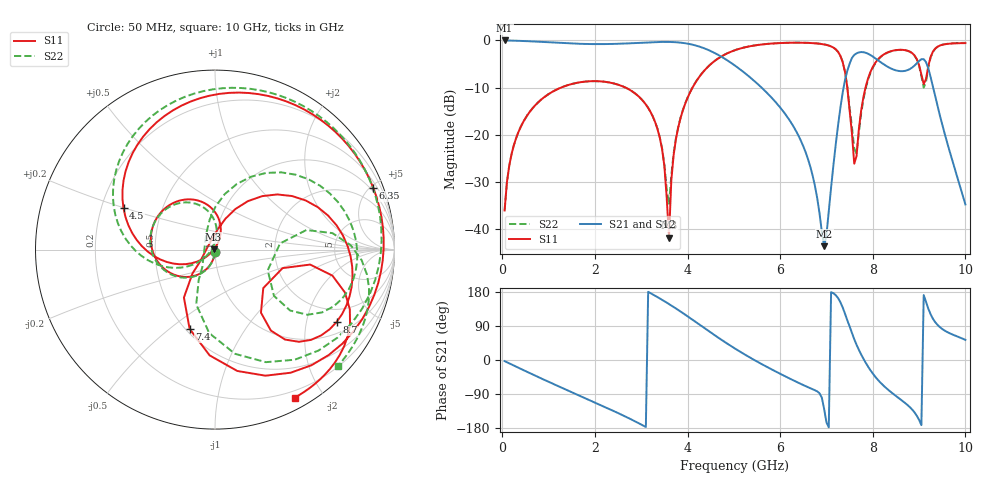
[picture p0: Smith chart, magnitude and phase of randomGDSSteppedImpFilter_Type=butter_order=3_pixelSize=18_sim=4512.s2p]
! freq	dB(S11)	phase(S11)	dB(S12)	phase(S12)
!  dB(S21)	phase(S21)	dB(S22)	phase(S22)
!S-par simulation data
#  GHz  S  DB  R 50
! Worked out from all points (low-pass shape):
!   200 points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, 50 MHz to 10 GHz, reference 50 ohm
!   highest |S21| = 0.00 dB at 50 MHz (marker M1); lowest = -43.7 dB at 6.95 GHz (marker M2)
!   |S21| within 3 dB of the highest: start of sweep to 4.651 GHz; 7.611 GHz to 7.932 GHz (320.8 MHz wide, 4.13 % of centre)
!   lowest |S11| = -41.8 dB at 3.6 GHz (marker M3), VSWR 1.02, Z = 49.2 + j0.0602 ohm
!   |S11| at or under -10 dB: start of sweep to 1.271 GHz; 2.657 GHz to 4.109 GHz (1.452 GHz wide, 42.9 % of centre); 7.451 GHz to 7.844 GHz (393.2 MHz wide, 5.14 % of centre)
!   |S22| runs from -36.1 to -0.5 dB; largest |S21 - S12| = 0
!   S11 on the Smith chart (normalised r, x): 50 MHz: 1.00, -0.03; 4.5 GHz: 0.29, +0.20; 6.35 GHz: 0.79, +5.20; 7.4 GHz: 0.52, -0.59; 8.7 GHz: 1.41, -3.02; 10 GHz: 0.12, -1.67
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0.05  -36.10 -92.9  -0.00 -3.0  -0.00 -3.0  -36.10 -92.8
0.5  -16.50 -120.2  -0.14 -29.2  -0.14 -29.2  -16.50 -119.3
1.75  -8.78 169.2  -0.74 -98.5  -0.74 -98.5  -8.78 172.7
3.4  -20.60 70.6  -0.32 162.5  -0.32 162.5  -20.53 84.0
3.6  -41.85 175.7  -0.32 147.6  -0.32 147.6  -34.84 167.0
3.65  -29.67 -140.5  -0.33 143.8  -0.33 143.8  -28.66 -150.9
3.8  -18.44 -146.0  -0.42 131.9  -0.42 131.9  -18.32 -143.5
4.5  -5.05 155.7  -2.25 72.7  -2.25 72.7  -5.04 164.9
5.05  -1.98 110.7  -5.52 28.3  -5.52 28.3  -1.98 122.1
5.65  -0.81 67.5  -10.49 -14.0  -10.49 -14.0  -0.80 80.8
6.35  -0.48 21.3  -19.36 -57.5  -19.36 -57.5  -0.47 35.9
6.7  -0.57 -3.6  -28.64 -77.0  -28.64 -77.0  -0.56 11.2
6.95  -0.85 -25.4  -43.68 -129.5  -43.68 -129.5  -0.84 -10.7
7.4  -6.68 -107.8  -8.42 122.3  -8.42 122.3  -6.63 -94.0
7.6  -26.17 -179.5  -3.08 54.8  -3.08 54.8  -22.94 -152.5
7.85  -9.73 55.8  -2.63 -7.8  -2.63 -7.8  -10.07 80.1
8.35  -2.42 -2.8  -5.75 -80.5  -5.75 -80.5  -2.46 16.5
8.7  -2.07 -30.8  -6.45 -113.6  -6.45 -113.6  -2.07 -12.6
9  -5.22 -55.4  -4.37 -158.0  -4.37 -158.0  -5.37 -39.0
9.2  -5.41 -8.9  -5.96 135.2  -5.96 135.2  -5.67 12.1
9.45  -1.08 -33.1  -15.97 86.6  -15.97 86.6  -1.08 -13.8
10  -0.57 -61.8  -34.81 53.1  -34.81 53.1  -0.51 -43.2
